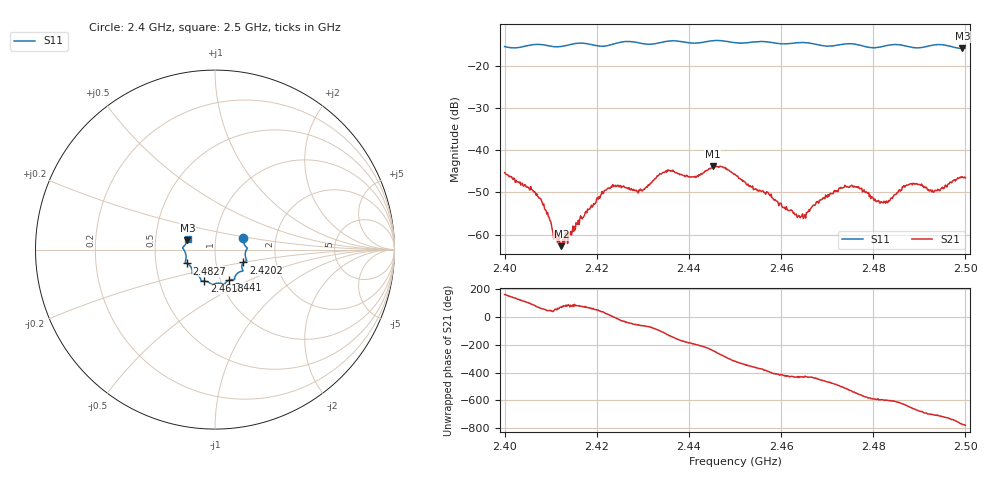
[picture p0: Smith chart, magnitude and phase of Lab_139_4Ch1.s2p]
# Hz S RI R 50
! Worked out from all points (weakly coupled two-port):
!   601 points, 2.4 GHz to 2.5 GHz, reference 50 ohm
!   highest |S21| = -43.73 dB at 2.4452 GHz (marker M1); lowest = -62.8 dB at 2.4123 GHz (marker M2)
!   lowest |S11| = -15.8 dB at 2.4993 GHz (marker M3), VSWR 1.39, Z = 36.5 + j3.84 ohm
!   |S11| at or under -10 dB: start of sweep to end of sweep
!   S12 and S22 are empty: the file has one direction only
!   S11 on the Smith chart (normalised r, x): 2.4 GHz: 1.36, +0.18; 2.4202 GHz: 1.36, -0.20; 2.441 GHz: 1.10, -0.39; 2.4618 GHz: 0.84, -0.30; 2.4827 GHz: 0.72, -0.11; 2.5 GHz: 0.73, +0.09
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2.4e9  0.1584 0.063  -0.0052 0.00161  0 0  0 0
2.4075e9  0.1807 0.00768  0.000923 0.00253  0 0  0 0
2.411e9  0.169 -0.0163  0.000563 0.000913  0 0  0 0
2.412333e9  0.1682 -0.0316  0.000255 0.000682  0 0  0 0
2.416667e9  0.1773 -0.061  0.000354 0.00154  0 0  0 0
2.420167e9  0.1585 -0.0714  0.00184 0.00205  0 0  0 0
2.423667e9  0.1502 -0.104  0.00371 7.52e-05  0 0  0 0
2.4295e9  0.1413 -0.1225  0.00164 -0.00306  0 0  0 0
2.433333e9  0.1115 -0.1508  -0.000292 -0.00497  0 0  0 0
2.441e9  0.0787 -0.1697  -0.00473 0.00107  0 0  0 0
2.445167e9  0.0516 -0.1934  -0.00317 0.00568  0 0  0 0
2.45e9  0.0284 -0.1875  0.00394 0.00342  0 0  0 0
2.461833e9  -0.0592 -0.1754  0.000607 -0.00183  0 0  0 0
2.4645e9  -0.0752 -0.1749  0.000515 -0.00158  0 0  0 0
2.466667e9  -0.0789 -0.1683  0.000633 -0.00202  0 0  0 0
2.474e9  -0.1252 -0.1342  -0.00338 -0.00162  0 0  0 0
2.482667e9  -0.1562 -0.077  -0.0012 0.00203  0 0  0 0
2.483333e9  -0.1605 -0.075  -0.00118 0.00225  0 0  0 0
2.487667e9  -0.1619 -0.053  0.000997 0.0038  0 0  0 0
2.493167e9  -0.1782 0.00544  0.00309 0.000766  0 0  0 0
2.499333e9  -0.1539 0.0513  0.00277 -0.00396  0 0  0 0
2.5e9  -0.1523 0.0607  0.00219 -0.00415  0 0  0 0
